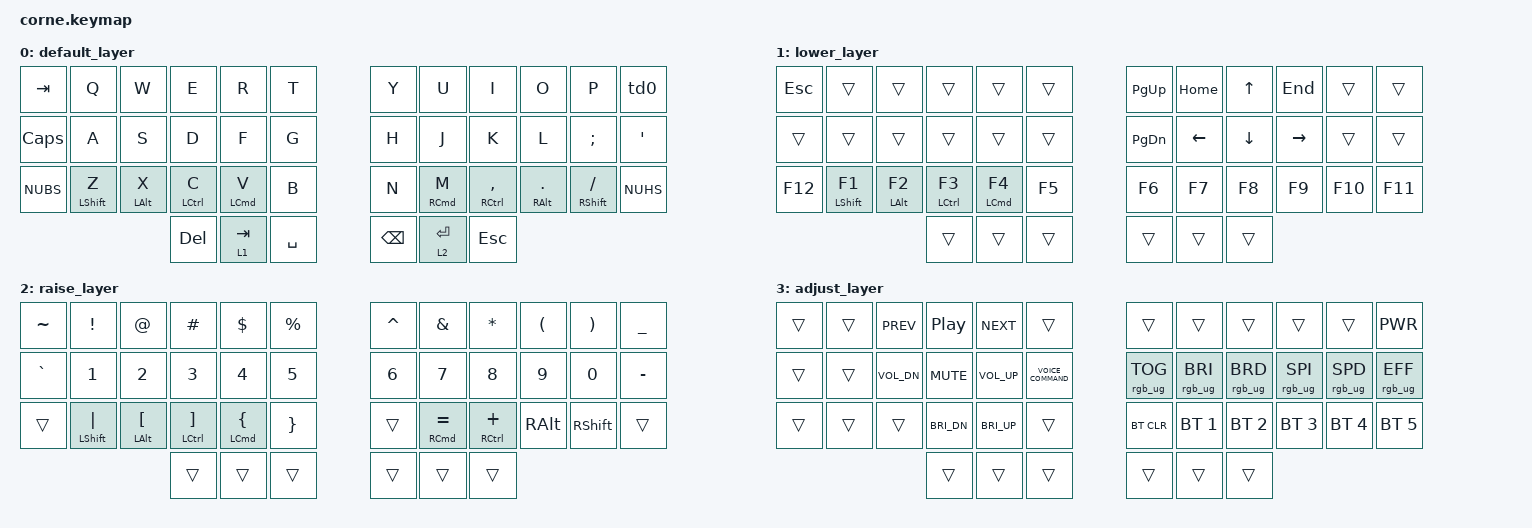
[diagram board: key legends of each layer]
/*
 * Copyright (c) 2020 The ZMK Contributors
 *
 * SPDX-License-Identifier: MIT
 * 
 * 🚧 GRAVE and NUBS are kind of inverted on MACOS ISO keyboard
 * 🚧 https://github.com/zmkfirmware/zmk/issues/1861
 */

#include <behaviors.dtsi>
#include <dt-bindings/zmk/keys.h>
#include <dt-bindings/zmk/bt.h>
#include <dt-bindings/zmk/rgb.h>

/ {
    conditional_layers {
      compatible = "zmk,conditional-layers";
      tri_layer {
        if-layers = <1 2>;
        then-layer = <3>;
      };
    };
    behaviors {
      td0: tap_dance_0 {
          compatible = "zmk,behavior-tap-dance";
          label = "TAP_DANCE_0";
          #binding-cells = <0>;
          tapping-term-ms = <200>;
          bindings = <&kp LBKT>, <&kp RBKT>;
      };
      hm: homerow_mods {
          compatible = "zmk,behavior-hold-tap";
          label = "HOMEROW_MODS";
          #binding-cells = <2>;
          tapping-term-ms = <150>;
          quick-tap-ms = <0>;
          flavor = "tap-preferred";
          bindings = <&kp>, <&kp>;
      };
    };
    keymap {
      compatible = "zmk,keymap";

// Hold on bottom row give access to modificators 
// |---| LSHFT | LALT | LCTRL | LCMD |--|   |--| RCMD | RCTRL | RALT | RSHFT |---|

      default_layer {
// -----------------------------------------------------------------------------------------
// |  TAB |  Q  |  W  |  E  |  R  |  T  |   |  Y  |  U   |  I  |  O  |  P  | [  { |
// | CAPS |  A  |  S  |  D  |  F  |  G  |   |  H  |  J   |  K  |  L  |  ;  |  '   |
// | ` ~  |  Z  |  X  |  C  |  V  |  B  |   |  N  |  M   | , < | . > | / ? | \ "|"|
//                | DEL | LWR TAB | SPC |   | BKSP | RSE RETURN | ESC |
        bindings = <
   &kp TAB   &kp Q &kp W &kp E &kp R &kp T   &kp Y &kp U  &kp I     &kp O   &kp P    &td0
   &kp CAPS  &kp A &kp S &kp D &kp F &kp G   &kp H &kp J  &kp K     &kp L   &kp SEMI &kp SQT
   &kp NUBS &hm LSHFT Z &hm LALT X &hm LCTRL C &hm LCMD V &kp B   &kp N &hm RCMD M &hm RCTRL COMMA &hm RALT DOT &hm RSHFT FSLH &kp NUHS
               &kp DEL &lt 1 TAB &kp SPACE   &kp BSPC &lt 2 RET &kp ESC
          >;
      };

      lower_layer {
// -----------------------------------------------------------------------------------------
// | ESC  |     |     |     |     |     |   |PG_UP|HOME | UP  | END |     |      |
// |      |     |     |     |     |     |   |PG_DN| LFT | DWN | RGT |     |      |
// | F12  | F1  | F2  | F3  | F4  | F5  |   | F6  |  F7 | F8  | F9  | F10 | F11  |
//               | DEL | held key | SPC |   | BKSP | Adjust Layer | ESC OTHR |
        bindings = <
   &kp ESC &trans &trans &trans &trans &trans   &kp PG_UP &kp HOME &kp UP   &kp END   &trans  &trans
   &trans  &trans &trans &trans &trans &trans   &kp PG_DN &kp LEFT &kp DOWN &kp RIGHT &trans  &trans
   &kp F12 &hm LSHFT F1 &hm LALT F2 &hm LCTRL F3 &hm LCMD F4 &kp F5   &kp F6    &kp F7   &kp F8   &kp F9    &kp F10 &kp F11
                         &trans &trans &trans   &trans &trans &trans
        >;
      };

      raise_layer {
// -----------------------------------------------------------------------------------------
// |  ±   |  !  |  @  |  #  |  $  |  %  |   |  ^  |  &  |  *  |  (  |  )  |  _   |
// |  §   |  1  |  2  |  3  |  4  |  5  |   |  6  |  7  |  8  |  9  |  0  |  -   |
// |      | "|" |  [  |  ]  |  {  |  }  |   |     |  =  |  +  | RALT|RSHFT|      |
//           | DEL | Adjust Layer | SPC |   | BKSP | held key | ESC OTHR |
                        bindings = <
   &kp TILDE &kp EXCL &kp AT   &kp HASH &kp DLLR &kp PRCNT   &kp CARET &kp AMPS  &kp STAR &kp LPAR &kp RPAR &kp UNDER
   &kp GRAVE &kp N1   &kp N2   &kp N3   &kp N4   &kp N5      &kp N6    &kp N7    &kp N8   &kp N9   &kp N0   &kp MINUS
   &trans    &hm LSHFT PIPE &hm LALT LBKT &hm LCTRL RBKT &hm LCMD LBRC &kp RBRC    &trans    &hm RCMD EQUAL &hm RCTRL PLUS &kp RALT &kp RSHFT &trans
                            &trans   &trans   &trans      &trans    &trans    &trans
        >;
      };

// todo : do not disturb ? + globe emoji ?
      adjust_layer {
// -----------------------------------------------------------------------------------------
// |      |     |  ⏪  |  ⏯️  |  ⏩  | 🌙  |        |     |     |     |     |     |  🛌   |
// |      |     |  🔉  |  🔇  |  🔊  | 🎙️  |  RGB ➡️ | TOG | BRI | BRD | SPI | SPD | EFF   |
// |      |  🌍  |     |  🔅  |  🔆  |    |    BT ➡️ | CLR | BT1 | BT2 | BT3 | BT4 | BT5  |
//                    |      |      |    |         |     |     |     |
        bindings = <
   &trans &trans &kp C_PREV   &kp C_PP     &kp C_NEXT   &trans                &trans &trans &trans &trans &trans &kp C_PWR
   &trans &trans &kp C_VOL_DN &kp C_MUTE   &kp C_VOL_UP &kp C_VOICE_COMMAND   &rgb_ug RGB_TOG &rgb_ug RGB_BRI &rgb_ug RGB_BRD &rgb_ug RGB_SPI &rgb_ug RGB_SPD &rgb_ug RGB_EFF
   &trans &trans &trans       &kp C_BRI_DN &kp C_BRI_UP &trans                &bt BT_CLR &bt BT_SEL 1 &bt BT_SEL 2 &bt BT_SEL 3 &bt BT_SEL 4 &bt BT_SEL 5
                                                       &trans &trans &trans   &trans &trans &trans
        >;
      };

    };
};
